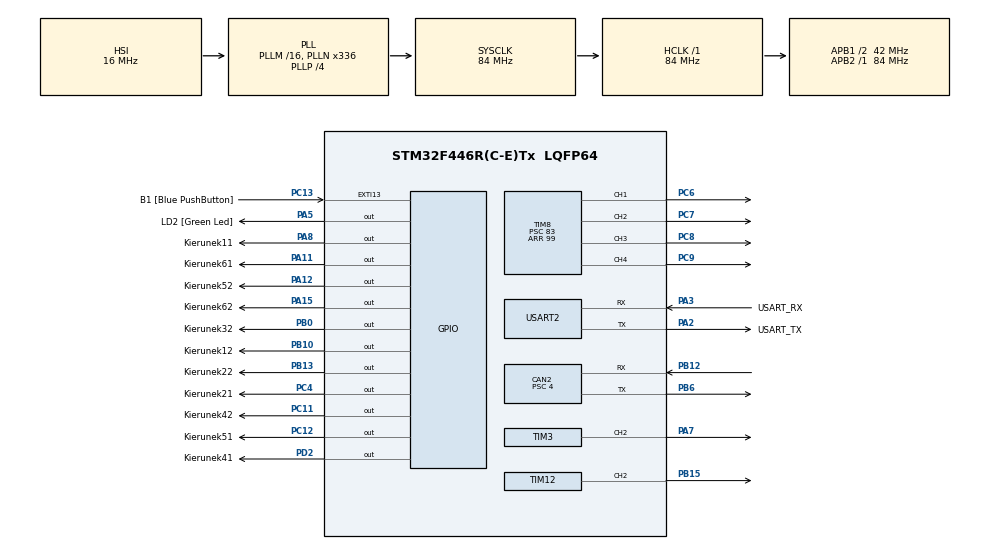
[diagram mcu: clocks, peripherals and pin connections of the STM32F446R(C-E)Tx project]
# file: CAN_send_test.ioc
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CAN2.BS1=CAN_BS1_14TQ
CAN2.BS2=CAN_BS2_6TQ
CAN2.CalculateBaudRate=500000
CAN2.CalculateTimeBit=2000
CAN2.CalculateTimeQuantum=95.23809523809524
CAN2.NART=ENABLE
CAN2.Prescaler=4
Mcu.Family=STM32F4
Mcu.Name=STM32F446R(C-E)Tx
Mcu.Package=LQFP64
NVIC.CAN2_RX0_IRQn=true\:0\:0\:false\:false\:true\:true\:true\:true
NVIC.PriorityGroup=NVIC_PRIORITYGROUP_0
NVIC.TIM8_TRG_COM_TIM14_IRQn=true\:0\:0\:false\:false\:true\:true\:true\:true
PA11.GPIO_Label=Kierunek61
PA11.GPIO_PuPd=GPIO_PULLUP
PA11.Signal=GPIO_Output
PA12.GPIO_Label=Kierunek52
PA12.GPIO_PuPd=GPIO_PULLUP
PA12.Signal=GPIO_Output
PA13.GPIO_Label=TMS
PA13.Mode=Serial_Wire
PA13.Signal=SYS_JTMS-SWDIO
PA14.GPIO_Label=TCK
PA14.Mode=Serial_Wire
PA14.Signal=SYS_JTCK-SWCLK
PA15.GPIO_Label=Kierunek62
PA15.GPIO_PuPd=GPIO_PULLUP
PA15.Signal=GPIO_Output
PA2.GPIO_Label=USART_TX
PA2.Mode=Asynchronous
PA2.Signal=USART2_TX
PA3.GPIO_Label=USART_RX
PA3.Mode=Asynchronous
PA3.Signal=USART2_RX
PA5.GPIO_Label=LD2 [Green Led]
PA5.Signal=GPIO_Output
PA7.Signal=S_TIM3_CH2
PA8.GPIO_Label=Kierunek11
PA8.GPIO_PuPd=GPIO_PULLUP
PA8.Signal=GPIO_Output
PB0.GPIO_Label=Kierunek32
PB0.GPIO_PuPd=GPIO_PULLUP
PB0.Signal=GPIO_Output
PB10.GPIO_Label=Kierunek12
PB10.GPIO_PuPd=GPIO_PULLUP
PB10.Signal=GPIO_Output
PB12.Mode=CAN_Activate
PB12.Signal=CAN2_RX
PB13.GPIO_Label=Kierunek22
PB13.GPIO_PuPd=GPIO_PULLUP
PB13.Signal=GPIO_Output
PB15.Signal=S_TIM12_CH2
PB3.GPIO_Label=SWO
PB3.Signal=SYS_JTDO-SWO
PB6.Mode=CAN_Activate
PB6.Signal=CAN2_TX
PC11.GPIO_Label=Kierunek42
PC11.GPIO_PuPd=GPIO_PULLUP
PC11.Signal=GPIO_Output
PC12.GPIO_Label=Kierunek51
PC12.GPIO_PuPd=GPIO_PULLUP
PC12.Signal=GPIO_Output
PC13.GPIO_Label=B1 [Blue PushButton]
PC13.GPIO_ModeDefaultEXTI=GPIO_MODE_IT_FALLING
PC13.Signal=GPXTI13
PC14-OSC32_IN.Mode=LSE-External-Oscillator
PC14-OSC32_IN.Signal=RCC_OSC32_IN
PC15-OSC32_OUT.Mode=LSE-External-Oscillator
PC15-OSC32_OUT.Signal=RCC_OSC32_OUT
PC4.GPIO_Label=Kierunek21
PC4.GPIO_PuPd=GPIO_PULLUP
PC4.Signal=GPIO_Output
PC6.Signal=S_TIM8_CH1
PC7.Signal=S_TIM8_CH2
PC8.Signal=S_TIM8_CH3
PC9.Signal=S_TIM8_CH4
PD2.GPIO_Label=Kierunek41
PD2.GPIO_PuPd=GPIO_PULLUP
PD2.Signal=GPIO_Output
PH0-OSC_IN.Mode=HSE-External-Oscillator
PH0-OSC_IN.Signal=RCC_OSC_IN
PH1-OSC_OUT.Mode=HSE-External-Oscillator
PH1-OSC_OUT.Signal=RCC_OSC_OUT
ProjectManager.HeapSize=0x200
ProjectManager.StackSize=0x400
ProjectManager.TargetToolchain=STM32CubeIDE
RCC.48MHZClocksFreq_Value=84000000
RCC.AHBFreq_Value=84000000
RCC.APB1CLKDivider=RCC_HCLK_DIV2
RCC.APB1Freq_Value=42000000
RCC.APB1TimFreq_Value=84000000
RCC.APB2Freq_Value=84000000
RCC.APB2TimFreq_Value=84000000
RCC.CortexFreq_Value=84000000
RCC.FLatency-AdvancedSettings=FLASH_LATENCY_2
RCC.HCLKFreq_Value=84000000
RCC.HSE_VALUE=8000000
RCC.HSI_VALUE=16000000
RCC.PLLN=336
RCC.PLLP=RCC_PLLP_DIV4
RCC.SYSCLKFreq_VALUE=84000000
RCC.SYSCLKSource=RCC_SYSCLKSOURCE_PLLCLK
RCC.USBFreq_Value=168000000
RCC.VCOOutputFreq_Value=336000000
SH.S_TIM12_CH2.0=TIM12_CH2,PWM Generation2 CH2
SH.S_TIM3_CH2.0=TIM3_CH2,PWM Generation2 CH2
SH.S_TIM8_CH1.0=TIM8_CH1,PWM Generation1 CH1
SH.S_TIM8_CH2.0=TIM8_CH2,PWM Generation2 CH2
SH.S_TIM8_CH3.0=TIM8_CH3,PWM Generation3 CH3
SH.S_TIM8_CH4.0=TIM8_CH4,PWM Generation4 CH4
TIM12.Channel-PWM\ Generation2\ CH2=TIM_CHANNEL_2
TIM12.Period=99
TIM12.Prescaler=83
TIM14.Period=99
TIM14.Prescaler=8999
TIM3.Channel-PWM\ Generation2\ CH2=TIM_CHANNEL_2
TIM3.Period=99
TIM3.Prescaler=83
TIM8.Channel-PWM\ Generation1\ CH1=TIM_CHANNEL_1
TIM8.Channel-PWM\ Generation2\ CH2=TIM_CHANNEL_2
TIM8.Channel-PWM\ Generation3\ CH3=TIM_CHANNEL_3
TIM8.Channel-PWM\ Generation4\ CH4=TIM_CHANNEL_4
TIM8.Period=99
TIM8.Prescaler=83
USART2.VirtualMode=VM_ASYNC
VP_TIM12_VS_ClockSourceINT.Mode=Internal
VP_TIM14_VS_ClockSourceINT.Mode=Enable_Timer
board=NUCLEO-F446RE

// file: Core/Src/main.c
/* USER CODE BEGIN Header */
/**
  ******************************************************************************
  * @file           : main.c
  * @brief          : Main program body
  ******************************************************************************
  * @attention
  *
  * Copyright (c) 2026 STMicroelectronics.
  * All rights reserved.
  *
  * This software is licensed under terms that can be found in the LICENSE file
  * in the root directory of this software component.
  * If no LICENSE file comes with this software, it is provided AS-IS.
  *
  ******************************************************************************
  */
/* USER CODE END Header */
#include "main.h"
#include "can.h"
#include "tim.h"
#include "usart.h"
#include "gpio.h"

/* USER CODE BEGIN Includes */
#include <math.h>
#define constrain(amt, low, high) ((amt) < (low) ? (low) : ((amt) > (high) ? (high) : (amt)))
/* USER CODE END Includes */

/* USER CODE BEGIN PV */
// --- ZMIENNE DO WYSYŁKI ---
CAN_TxHeaderTypeDef TxHeader;  // Struktura nagłówka ramki CAN
uint8_t TxData[8];             // Tablica z danymi (8 bajtów)
uint32_t TxMailbox;            // Zmienna przechowująca przypisany mailbox

// --- ZMIENNE DO ODBIORU ---
CAN_RxHeaderTypeDef RxHeader;  // Struktura nagłówka ramki odebranej
uint8_t RxData[8];             // Tablica na odebrane dane
volatile uint32_t RxCounter = 0; // Licznik odebranych ramek
uint16_t g = 0;

// --- JEDYNE OBSŁUGIWANE ID 0x300 (6 wartości od -100 do 100) ---
float PwmJoint1=0;
float PwmJoint2=0;
float PwmJoint3=0;
float PwmJoint4=0;
float PwmJoint5=0;
float PwmJoint6=0;

// --- ZMIENNE DO TIMEOUTU (ZABEZPIECZENIE) ---
volatile uint32_t CAN_LastRxTime = 0; // Przechowuje czas odebrania ostatniej ramki w
/* USER CODE END PV */

void SystemClock_Config(void);

int main(void)
{

  /* MCU Configuration--------------------------------------------------------*/

  /* Reset of all peripherals, Initializes the Flash interface and the Systick. */
  HAL_Init();

  /* Configure the system clock */
  SystemClock_Config();

  /* Initialize all configured peripherals */
  MX_GPIO_Init();
  MX_USART2_UART_Init();
  MX_TIM14_Init();
  MX_CAN2_Init();
  MX_TIM3_Init();
  MX_TIM8_Init();
  MX_TIM12_Init();
  /* USER CODE BEGIN 2 */

    // W STM32F4 kontroler CAN2 jest Slavem. Aby działał, MUSISZ włączyć zegar dla nadrzędnego CAN1!
    __HAL_RCC_CAN1_CLK_ENABLE();

    // --- POPRAWIONA, MAKSYMALNIE RESTRYKCYJNA KONFIGURACJA FILTRA: TYLKO ID 0x300 ---
    CAN_FilterTypeDef sFilterConfig;
    sFilterConfig.FilterBank = 14;                    // Dla CAN2 filtry zaczynają się domyślnie od banku 14
    sFilterConfig.FilterMode = CAN_FILTERMODE_IDMASK; // Używamy maski do dokładnego odcięcia jednego adresu
    sFilterConfig.FilterScale = CAN_FILTERSCALE_32BIT;

    // Szukamy dokładnie ID 0x300
    sFilterConfig.FilterIdHigh = (0x300 << 5);
    sFilterConfig.FilterIdLow = 0x0000;

    // Maska 0x7FF oznacza: wszystkie 11 bitów ID musi się idealnie zgadzać z wartością 0x300
    sFilterConfig.FilterMaskIdHigh = (0x7FF << 5);
    sFilterConfig.FilterMaskIdLow = 0x0000;

    sFilterConfig.FilterFIFOAssignment = CAN_FILTER_FIFO0;
    sFilterConfig.FilterActivation = ENABLE;
    sFilterConfig.SlaveStartFilterBank = 14;

    // Rejestracja filtra w strukturze hcan2
    if (HAL_CAN_ConfigFilter(&hcan2, &sFilterConfig) != HAL_OK)
    {
       Error_Handler();
    }

    // 1. Konfiguracja struktury ramki nadawczej CAN (Telemetria dla ROS2)
    TxHeader.DLC = 8;
    TxHeader.IDE = CAN_ID_STD;
    TxHeader.RTR = CAN_RTR_DATA;
    TxHeader.StdId = 0x301;               // ID wysyłane z STM32, na które czeka bridge ROS2
    TxHeader.TransmitGlobalTime = DISABLE;

    // 2. Wypełnienie bufora danych zerami na start
    for(int i = 0; i < 8; i++)
    {
        TxData[i] = 0xFF;
    }

    // 3. Konfiguracja priorytetów NVIC (Timer wyżej, CAN niżej) oraz aktywacja linii przerwań
    HAL_NVIC_SetPriority(TIM8_TRG_COM_TIM14_IRQn, 4, 0);
    HAL_NVIC_EnableIRQ(TIM8_TRG_COM_TIM14_IRQn);

    HAL_NVIC_SetPriority(CAN2_RX0_IRQn, 6, 0);
    HAL_NVIC_EnableIRQ(CAN2_RX0_IRQn);

    // 4. Start modułu CAN2
    if (HAL_CAN_Start(&hcan2) != HAL_OK)
    {
        Error_Handler();
    }

    // 5. Włączenie powiadomień przerwań (Tylko dla odbioru danych z FIFO0, reszta zablokowana)
    HAL_CAN_ActivateNotification(&hcan2, CAN_IT_RX_FIFO0_MSG_PENDING);

    // Uruchomienie timera systemowego
    HAL_TIM_Base_Start_IT(&htim14);

    HAL_TIM_PWM_Start(&htim8, TIM_CHANNEL_1);
    HAL_TIM_PWM_Start(&htim8, TIM_CHANNEL_2);
    HAL_TIM_PWM_Start(&htim8, TIM_CHANNEL_3);
    HAL_TIM_PWM_Start(&htim8, TIM_CHANNEL_4);
    HAL_TIM_PWM_Start(&htim12, TIM_CHANNEL_2);
    HAL_TIM_PWM_Start(&htim3, TIM_CHANNEL_2);

  /* USER CODE END 2 */

  /* Infinite loop */
  while (1)
  {

  }
}

void SystemClock_Config(void)
{
  RCC_OscInitTypeDef RCC_OscInitStruct = {0};
  RCC_ClkInitTypeDef RCC_ClkInitStruct = {0};

  /** Configure the main internal regulator output voltage
  */
  __HAL_RCC_PWR_CLK_ENABLE();
  __HAL_PWR_VOLTAGESCALING_CONFIG(PWR_REGULATOR_VOLTAGE_SCALE3);

  /** Initializes the RCC Oscillators according to the specified parameters
  * in the RCC_OscInitTypeDef structure.
  */
  RCC_OscInitStruct.OscillatorType = RCC_OSCILLATORTYPE_HSI;
  RCC_OscInitStruct.HSIState = RCC_HSI_ON;
  RCC_OscInitStruct.HSICalibrationValue = RCC_HSICALIBRATION_DEFAULT;
  RCC_OscInitStruct.PLL.PLLState = RCC_PLL_ON;
  RCC_OscInitStruct.PLL.PLLSource = RCC_PLLSOURCE_HSI;
  RCC_OscInitStruct.PLL.PLLM = 16;
  RCC_OscInitStruct.PLL.PLLN = 336;
  RCC_OscInitStruct.PLL.PLLP = RCC_PLLP_DIV4;
  RCC_OscInitStruct.PLL.PLLQ = 2;
  RCC_OscInitStruct.PLL.PLLR = 2;
  if (HAL_RCC_OscConfig(&RCC_OscInitStruct) != HAL_OK)
  {
    Error_Handler();
  }

  /** Initializes the CPU, AHB and APB buses clocks
  */
  RCC_ClkInitStruct.ClockType = RCC_CLOCKTYPE_HCLK|RCC_CLOCKTYPE_SYSCLK
                              |RCC_CLOCKTYPE_PCLK1|RCC_CLOCKTYPE_PCLK2;
  RCC_ClkInitStruct.SYSCLKSource = RCC_SYSCLKSOURCE_PLLCLK;
  RCC_ClkInitStruct.AHBCLKDivider = RCC_SYSCLK_DIV1;
  RCC_ClkInitStruct.APB1CLKDivider = RCC_HCLK_DIV2;
  RCC_ClkInitStruct.APB2CLKDivider = RCC_HCLK_DIV1;

  if (HAL_RCC_ClockConfig(&RCC_ClkInitStruct, FLASH_LATENCY_2) != HAL_OK)
  {
    Error_Handler();
  }
}

/* USER CODE BEGIN 4 */
void HAL_CAN_RxFifo0MsgPendingCallback(CAN_HandleTypeDef *hcan)
{
    while (HAL_CAN_GetRxFifoFillLevel(hcan, CAN_RX_FIFO0) > 0)
    {
        if (HAL_CAN_GetRxMessage(hcan, CAN_RX_FIFO0, &RxHeader, RxData) == HAL_OK)
        {
            g = RxHeader.StdId;
            RxCounter++;

            CAN_LastRxTime=0;

            // Mignięcie diodą na płytce przy odebraniu poprawnej ramki 0x300
            HAL_GPIO_TogglePin(LD2_GPIO_Port, LD2_Pin);

            // Rzutujemy dane bezpośrednio na liczby ze znakiem (int8_t)
            int8_t *signed_data = (int8_t*)RxData;

            // Przepisujemy 6 wartości (zakres -100 do 100) przesłanych z terminala/ROS2
            PwmJoint1 = signed_data[4];
            PwmJoint2 = signed_data[5];
            PwmJoint3 = signed_data[3];
            PwmJoint4 = signed_data[2];
            PwmJoint5 = signed_data[1];
            PwmJoint6 = signed_data[0];
        }
    }
}

void HAL_TIM_PeriodElapsedCallback(TIM_HandleTypeDef *htim)
{
    if (htim->Instance == TIM14)
    {
        static uint16_t cnt = 0;
        cnt++;

        CAN_LastRxTime=CAN_LastRxTime+10;

        if (CAN_LastRxTime >= 1500)
        {
        	PwmJoint1 = 0.0f;
            PwmJoint2 = 0.0f;
            PwmJoint3 = 0.0f;
            PwmJoint4 = 0.0f;
            PwmJoint5 = 0.0f;
            PwmJoint6 = 0.0f;
        }

        PwmJoint1 = constrain(PwmJoint1, -100.0f, 100.0f);
        PwmJoint2 = constrain(PwmJoint2, -100.0f, 100.0f);
        PwmJoint3 = constrain(PwmJoint3, -100.0f, 100.0f);
        PwmJoint4 = constrain(PwmJoint4, -100.0f, 100.0f);
        PwmJoint5 = constrain(PwmJoint5, -100.0f, 100.0f);
        PwmJoint6 = constrain(PwmJoint6, -100.0f, 100.0f);

       	HAL_GPIO_WritePin(Kierunek11_GPIO_Port, Kierunek11_Pin, PwmJoint1 >= 0 ? GPIO_PIN_SET : GPIO_PIN_RESET);
       	HAL_GPIO_WritePin(Kierunek12_GPIO_Port, Kierunek12_Pin, PwmJoint1 >= 0 ? GPIO_PIN_RESET : GPIO_PIN_SET);
        __HAL_TIM_SET_COMPARE(&htim8, TIM_CHANNEL_2,fabs(PwmJoint1));

        HAL_GPIO_WritePin(Kierunek21_GPIO_Port, Kierunek21_Pin, PwmJoint2 >= 0 ? GPIO_PIN_SET : GPIO_PIN_RESET);
        HAL_GPIO_WritePin(Kierunek22_GPIO_Port, Kierunek22_Pin, PwmJoint2 >= 0 ? GPIO_PIN_RESET : GPIO_PIN_SET);
        __HAL_TIM_SET_COMPARE(&htim12, TIM_CHANNEL_2,fabs(PwmJoint2));

        //HAL_GPIO_WritePin(Kierunek31_GPIO_Port, Kierunek31_Pin, PwmJoint3 >= 0 ? GPIO_PIN_SET : GPIO_PIN_RESET); //nie uzywam bo tutaj jest led
        HAL_GPIO_WritePin(Kierunek32_GPIO_Port, Kierunek32_Pin, PwmJoint3 >= 0 ? GPIO_PIN_RESET : GPIO_PIN_SET);
        __HAL_TIM_SET_COMPARE(&htim8, TIM_CHANNEL_4,fabs(PwmJoint3));

        HAL_GPIO_WritePin(Kierunek41_GPIO_Port, Kierunek41_Pin, PwmJoint4 >= 0 ? GPIO_PIN_SET : GPIO_PIN_RESET);
        HAL_GPIO_WritePin(Kierunek42_GPIO_Port, Kierunek42_Pin, PwmJoint4 >= 0 ? GPIO_PIN_RESET : GPIO_PIN_SET);
        __HAL_TIM_SET_COMPARE(&htim8, TIM_CHANNEL_3,fabs(PwmJoint4));

        HAL_GPIO_WritePin(Kierunek51_GPIO_Port, Kierunek51_Pin, PwmJoint5 >= 0 ? GPIO_PIN_SET : GPIO_PIN_RESET);
        HAL_GPIO_WritePin(Kierunek52_GPIO_Port, Kierunek52_Pin, PwmJoint5 >= 0 ? GPIO_PIN_RESET : GPIO_PIN_SET);
        __HAL_TIM_SET_COMPARE(&htim8, TIM_CHANNEL_1,fabs(PwmJoint5));

        HAL_GPIO_WritePin(Kierunek61_GPIO_Port, Kierunek61_Pin, PwmJoint6 >= 0 ? GPIO_PIN_SET : GPIO_PIN_RESET);
        HAL_GPIO_WritePin(Kierunek62_GPIO_Port, Kierunek62_Pin, PwmJoint6 >= 0 ? GPIO_PIN_RESET : GPIO_PIN_SET);
        __HAL_TIM_SET_COMPARE(&htim3, TIM_CHANNEL_2,fabs(PwmJoint6));

        if (cnt % 5 == 0) // --- WYKONYWANE CO 50ms ---
        {
            // Miejsce na szybką telemetrię
        }

        if (cnt % 10 == 0) // --- WYKONYWANE CO 100ms ---
        {
            // Pętla wysyłająca dane zwrotne (0x210) do komputera
            if (HAL_CAN_GetTxMailboxesFreeLevel(&hcan2) > 0)
            {
                if (HAL_CAN_AddTxMessage(&hcan2, &TxHeader, TxData, &TxMailbox) != HAL_OK)
                {
                    /* Obsługa błędu nadawania */
                }
            }
        }

        if (cnt % 100 == 0) // --- WYKONYWANE CO 1000ms ---
        {

        }

        if (cnt >= 200) // --- RESET LICZNIKA CO 2s ---
        {
            cnt = 0;
        }
    }
}
/* USER CODE END 4 */

void Error_Handler(void)
{
  __disable_irq();
  while (1)
  {
  }
}
